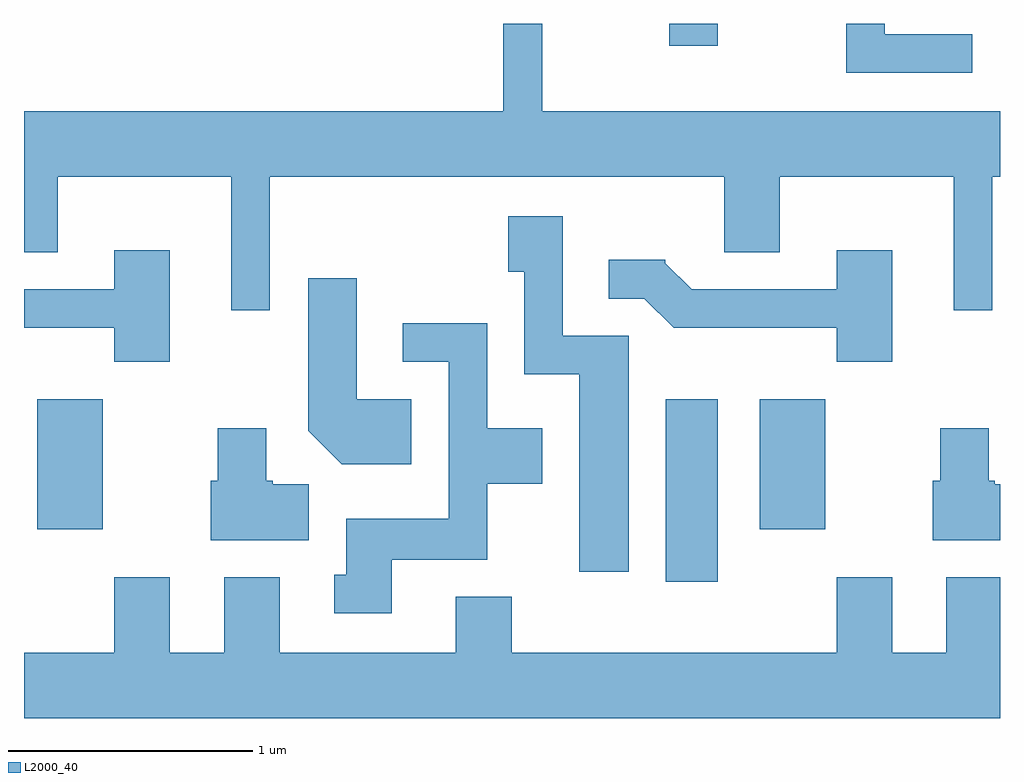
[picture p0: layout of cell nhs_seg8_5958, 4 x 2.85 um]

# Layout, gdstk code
import gdstk
lib = gdstk.Library(unit=1e-6, precision=1e-09)
def R(c, l, rs):  # rectangles x0, y0, x1, y1
    for r in rs: c.add(gdstk.rectangle(r[:2], r[2:], *l))
def P(c, l, *ps):  # polygons
    for p in ps: c.add(gdstk.Polygon(p, *l))
L2000_40 = (2000, 40)

nhs_seg8_5958 = lib.new_cell('nhs_seg8_5958')
R(nhs_seg8_5958, L2000_40, [(366.241,1868.056,366.454,1868.804), (363.666,1868.271,363.934,1868.804), (366.626,1868.271,366.894,1868.804), (366.256,1870.251,366.454,1870.342)])
P(nhs_seg8_5958, L2000_40, [(367.498,1870.299),(367.139,1870.299),(367.139,1870.342),(366.981,1870.342),(366.981,1870.141),(367.498,1870.141)],
  [(364.619,1869.716),(366.481,1869.716),(366.481,1869.406),(366.709,1869.406),(366.709,1869.716),(367.421,1869.716),(367.421,1869.168),(367.579,1869.168),(367.579,1869.716),(367.611,1869.716),(367.611,1869.984),(365.734,1869.984),(365.734,1870.342),(365.576,1870.342),(365.576,1869.984),(363.611,1869.984),(363.611,1869.406),(363.749,1869.406),(363.749,1869.716),(364.461,1869.716),(364.461,1869.168),(364.619,1869.168)],
  [(366.089,1869.064),(365.819,1869.064),(365.819,1869.554),(365.596,1869.554),(365.596,1869.326),(365.661,1869.326),(365.661,1868.906),(365.886,1868.906),(365.886,1868.096),(366.089,1868.096)],
  [(367.169,1869.414),(366.941,1869.414),(366.941,1869.254),(366.347,1869.254),(366.24,1869.361),(366.24,1869.374),(366.008,1869.374),(366.008,1869.216),(366.154,1869.216),(366.274,1869.096),(366.941,1869.096),(366.941,1868.956),(367.169,1868.956)],
  [(364.209,1869.414),(363.981,1869.414),(363.981,1869.254),(363.611,1869.254),(363.611,1869.096),(363.981,1869.096),(363.981,1868.956),(364.209,1868.956)],
  [(365.199,1868.804),(364.974,1868.804),(364.974,1869.299),(364.776,1869.299),(364.776,1868.674),(364.914,1868.536),(365.199,1868.536)],
  [(365.119,1868.146),(365.509,1868.146),(365.509,1868.456),(365.734,1868.456),(365.734,1868.684),(365.509,1868.684),(365.509,1869.114),(365.163,1869.114),(365.163,1868.956),(365.351,1868.956),(365.351,1868.314),(364.931,1868.314),(364.931,1868.084),(364.883,1868.084),(364.883,1867.926),(365.119,1867.926)],
  [(364.779,1868.454),(364.63,1868.454),(364.63,1868.469),(364.604,1868.469),(364.604,1868.684),(364.406,1868.684),(364.406,1868.469),(364.376,1868.469),(364.376,1868.226),(364.779,1868.226)],
  [(367.611,1868.454),(367.59,1868.454),(367.59,1868.469),(367.564,1868.469),(367.564,1868.684),(367.366,1868.684),(367.366,1868.469),(367.336,1868.469),(367.336,1868.226),(367.611,1868.226)],
  [(367.611,1868.074),(367.391,1868.074),(367.391,1867.764),(367.169,1867.764),(367.169,1868.074),(366.941,1868.074),(366.941,1867.764),(365.609,1867.764),(365.609,1867.994),(365.381,1867.994),(365.381,1867.764),(364.659,1867.764),(364.659,1868.074),(364.431,1868.074),(364.431,1867.764),(364.209,1867.764),(364.209,1868.074),(363.981,1868.074),(363.981,1867.764),(363.611,1867.764),(363.611,1867.496),(367.611,1867.496)])

lib.write_gds('nhs_seg8_5958.gds')
